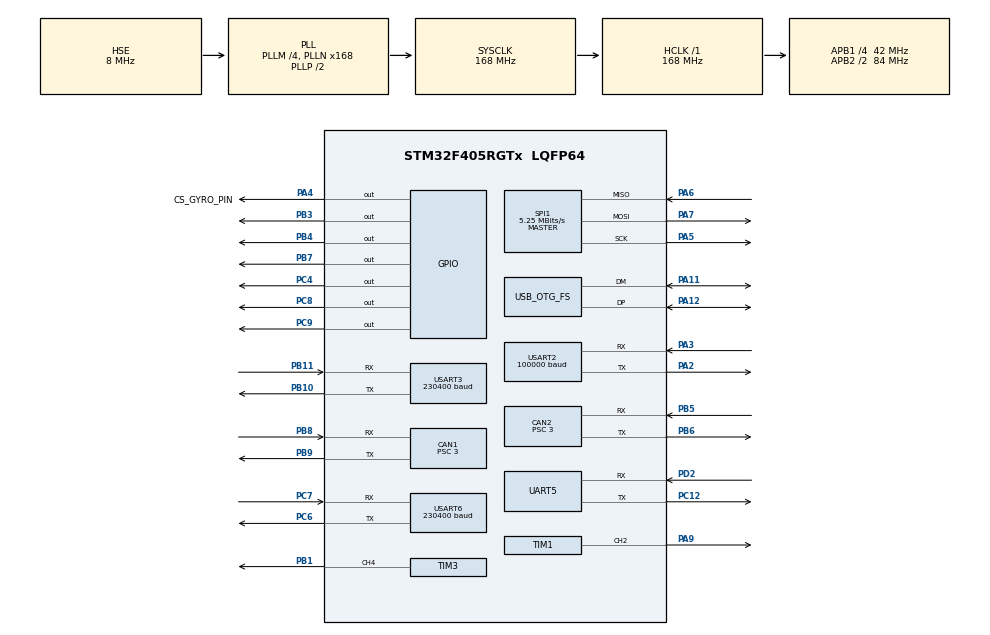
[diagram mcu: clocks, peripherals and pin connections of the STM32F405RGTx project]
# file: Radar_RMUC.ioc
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CAN1.AWUM=ENABLE
CAN1.BS1=CAN_BS1_9TQ
CAN1.BS2=CAN_BS2_4TQ
CAN1.CalculateBaudRate=1000000
CAN1.CalculateTimeBit=1000
CAN1.CalculateTimeQuantum=71.42857142857143
CAN1.NART=ENABLE
CAN1.Prescaler=3
CAN1.SJW=CAN_SJW_1TQ
CAN1.TTCM=ENABLE
CAN2.AWUM=ENABLE
CAN2.BS1=CAN_BS1_9TQ
CAN2.BS2=CAN_BS2_4TQ
CAN2.CalculateBaudRate=1000000
CAN2.CalculateTimeBit=1000
CAN2.CalculateTimeQuantum=71.42857142857143
CAN2.NART=ENABLE
CAN2.Prescaler=3
CAN2.TTCM=ENABLE
Dma.Request0=UART5_RX
Dma.Request1=UART5_TX
Dma.Request2=USART6_RX
Dma.Request3=USART6_TX
Dma.Request4=USART2_RX
Dma.UART5_RX.0.Direction=DMA_PERIPH_TO_MEMORY
Dma.UART5_RX.0.FIFOMode=DMA_FIFOMODE_DISABLE
Dma.UART5_RX.0.Instance=DMA1_Stream0
Dma.UART5_RX.0.MemDataAlignment=DMA_MDATAALIGN_BYTE
Dma.UART5_RX.0.MemInc=DMA_MINC_ENABLE
Dma.UART5_RX.0.Mode=DMA_NORMAL
Dma.UART5_RX.0.PeriphDataAlignment=DMA_PDATAALIGN_BYTE
Dma.UART5_RX.0.PeriphInc=DMA_PINC_DISABLE
Dma.UART5_RX.0.Priority=DMA_PRIORITY_HIGH
Dma.UART5_TX.1.Direction=DMA_MEMORY_TO_PERIPH
Dma.UART5_TX.1.FIFOMode=DMA_FIFOMODE_DISABLE
Dma.UART5_TX.1.Instance=DMA1_Stream7
Dma.UART5_TX.1.MemDataAlignment=DMA_MDATAALIGN_BYTE
Dma.UART5_TX.1.MemInc=DMA_MINC_ENABLE
Dma.UART5_TX.1.Mode=DMA_NORMAL
Dma.UART5_TX.1.PeriphDataAlignment=DMA_PDATAALIGN_BYTE
Dma.UART5_TX.1.PeriphInc=DMA_PINC_DISABLE
Dma.UART5_TX.1.Priority=DMA_PRIORITY_HIGH
Dma.USART2_RX.4.Direction=DMA_PERIPH_TO_MEMORY
Dma.USART2_RX.4.FIFOMode=DMA_FIFOMODE_DISABLE
Dma.USART2_RX.4.Instance=DMA1_Stream5
Dma.USART2_RX.4.MemDataAlignment=DMA_MDATAALIGN_BYTE
Dma.USART2_RX.4.MemInc=DMA_MINC_ENABLE
Dma.USART2_RX.4.Mode=DMA_NORMAL
Dma.USART2_RX.4.PeriphDataAlignment=DMA_PDATAALIGN_BYTE
Dma.USART2_RX.4.PeriphInc=DMA_PINC_DISABLE
Dma.USART2_RX.4.Priority=DMA_PRIORITY_HIGH
Dma.USART6_RX.2.Direction=DMA_PERIPH_TO_MEMORY
Dma.USART6_RX.2.FIFOMode=DMA_FIFOMODE_DISABLE
Dma.USART6_RX.2.Instance=DMA2_Stream1
Dma.USART6_RX.2.MemDataAlignment=DMA_MDATAALIGN_BYTE
Dma.USART6_RX.2.MemInc=DMA_MINC_ENABLE
Dma.USART6_RX.2.Mode=DMA_NORMAL
Dma.USART6_RX.2.PeriphDataAlignment=DMA_PDATAALIGN_BYTE
Dma.USART6_RX.2.PeriphInc=DMA_PINC_DISABLE
Dma.USART6_RX.2.Priority=DMA_PRIORITY_LOW
Dma.USART6_TX.3.Direction=DMA_MEMORY_TO_PERIPH
Dma.USART6_TX.3.FIFOMode=DMA_FIFOMODE_DISABLE
Dma.USART6_TX.3.Instance=DMA2_Stream6
Dma.USART6_TX.3.MemDataAlignment=DMA_MDATAALIGN_BYTE
Dma.USART6_TX.3.MemInc=DMA_MINC_ENABLE
Dma.USART6_TX.3.Mode=DMA_NORMAL
Dma.USART6_TX.3.PeriphDataAlignment=DMA_PDATAALIGN_BYTE
Dma.USART6_TX.3.PeriphInc=DMA_PINC_DISABLE
Dma.USART6_TX.3.Priority=DMA_PRIORITY_LOW
FREERTOS.Tasks01=defaultTask,24,128,StartDefaultTask,Default,NULL,Dynamic,NULL,NULL;myIMU,51,1024,StartIMU,Default,NULL,Dynamic,NULL,NULL;myChassis,41,256,StartChassis,Default,NULL,Dynamic,NULL,NULL;myNAVI,47,512,StartNAVI,Default,NULL,Dynamic,NULL,NULL;myJudgement,45,512,StartJument,Default,NULL,Dynamic,NULL,NULL;myStrategic,43,256,StartStrategic,As external,NULL,Dynamic,NULL,NULL
FREERTOS.configTOTAL_HEAP_SIZE=32768
IWDG.Prescaler=IWDG_PRESCALER_32
IWDG.Reload=1999
Mcu.Family=STM32F4
Mcu.Name=STM32F405RGTx
Mcu.Package=LQFP64
NVIC.CAN1_RX0_IRQn=true\:5\:0\:false\:false\:true\:true\:true\:true\:true
NVIC.CAN2_RX1_IRQn=true\:5\:0\:false\:false\:true\:true\:true\:true\:true
NVIC.DMA1_Stream0_IRQn=true\:5\:0\:false\:false\:true\:true\:false\:true\:true
NVIC.DMA1_Stream5_IRQn=true\:5\:0\:false\:false\:true\:true\:false\:true\:true
NVIC.DMA1_Stream7_IRQn=true\:5\:0\:false\:false\:true\:true\:false\:true\:true
NVIC.DMA2_Stream1_IRQn=true\:5\:0\:false\:false\:true\:true\:false\:true\:true
NVIC.DMA2_Stream6_IRQn=true\:5\:0\:false\:false\:true\:true\:false\:true\:true
NVIC.OTG_FS_IRQn=true\:5\:0\:false\:false\:true\:true\:true\:true\:true
NVIC.PriorityGroup=NVIC_PRIORITYGROUP_4
NVIC.TIM6_DAC_IRQn=true\:4\:0\:true\:false\:true\:false\:false\:true\:true
NVIC.TimeBase=TIM6_DAC_IRQn
NVIC.TimeBaseIP=TIM6
NVIC.UART5_IRQn=true\:6\:0\:true\:false\:true\:true\:true\:true\:true
NVIC.USART2_IRQn=true\:10\:0\:true\:false\:true\:true\:true\:true\:true
NVIC.USART3_IRQn=true\:9\:0\:true\:false\:true\:true\:true\:true\:true
NVIC.USART6_IRQn=true\:7\:0\:true\:false\:true\:true\:true\:true\:true
PA11.Mode=Device_Only
PA11.Signal=USB_OTG_FS_DM
PA12.Mode=Device_Only
PA12.Signal=USB_OTG_FS_DP
PA13.Mode=Serial_Wire
PA13.Signal=SYS_JTMS-SWDIO
PA14.Mode=Serial_Wire
PA14.Signal=SYS_JTCK-SWCLK
PA2.Mode=Asynchronous
PA2.Signal=USART2_TX
PA3.Mode=Asynchronous
PA3.Signal=USART2_RX
PA4.GPIO_Label=CS_GYRO_PIN
PA4.GPIO_Speed=GPIO_SPEED_FREQ_VERY_HIGH
PA4.PinState=GPIO_PIN_SET
PA4.Signal=GPIO_Output
PA5.Mode=Full_Duplex_Master
PA5.Signal=SPI1_SCK
PA6.Mode=Full_Duplex_Master
PA6.Signal=SPI1_MISO
PA7.Mode=Full_Duplex_Master
PA7.Signal=SPI1_MOSI
PA9.Signal=S_TIM1_CH2
PB1.Signal=S_TIM3_CH4
PB10.Mode=Asynchronous
PB10.Signal=USART3_TX
PB11.Mode=Asynchronous
PB11.Signal=USART3_RX
PB3.GPIO_Speed=GPIO_SPEED_FREQ_MEDIUM
PB3.PinState=GPIO_PIN_SET
PB3.Signal=GPIO_Output
PB4.GPIO_Speed=GPIO_SPEED_FREQ_MEDIUM
PB4.PinState=GPIO_PIN_SET
PB4.Signal=GPIO_Output
PB5.Mode=CAN_Activate
PB5.Signal=CAN2_RX
PB6.Mode=CAN_Activate
PB6.Signal=CAN2_TX
PB7.GPIO_Speed=GPIO_SPEED_FREQ_MEDIUM
PB7.PinState=GPIO_PIN_SET
PB7.Signal=GPIO_Output
PB8.Mode=CAN_Activate
PB8.Signal=CAN1_RX
PB9.Mode=CAN_Activate
PB9.Signal=CAN1_TX
PC12.Mode=Asynchronous
PC12.Signal=UART5_TX
PC14-OSC32_IN.Mode=LSE-External-Oscillator
PC14-OSC32_IN.Signal=RCC_OSC32_IN
PC15-OSC32_OUT.Mode=LSE-External-Oscillator
PC15-OSC32_OUT.Signal=RCC_OSC32_OUT
PC4.GPIO_Speed=GPIO_SPEED_FREQ_LOW
PC4.PinState=GPIO_PIN_RESET
PC4.Signal=GPIO_Output
PC6.Mode=Asynchronous
PC6.Signal=USART6_TX
PC7.Mode=Asynchronous
PC7.Signal=USART6_RX
PC8.GPIO_Speed=GPIO_SPEED_FREQ_MEDIUM
PC8.PinState=GPIO_PIN_SET
PC8.Signal=GPIO_Output
PC9.GPIO_Speed=GPIO_SPEED_FREQ_MEDIUM
PC9.PinState=GPIO_PIN_SET
PC9.Signal=GPIO_Output
PD2.Mode=Asynchronous
PD2.Signal=UART5_RX
PH0-OSC_IN.Mode=HSE-External-Oscillator
PH0-OSC_IN.Signal=RCC_OSC_IN
PH1-OSC_OUT.Mode=HSE-External-Oscillator
PH1-OSC_OUT.Signal=RCC_OSC_OUT
ProjectManager.HeapSize=0x2100
ProjectManager.StackSize=0x2100
ProjectManager.TargetToolchain=MDK-ARM V5.32
RCC.48MHZClocksFreq_Value=48000000
RCC.AHBFreq_Value=168000000
RCC.APB1CLKDivider=RCC_HCLK_DIV4
RCC.APB1Freq_Value=42000000
RCC.APB1TimFreq_Value=84000000
RCC.APB2CLKDivider=RCC_HCLK_DIV2
RCC.APB2Freq_Value=84000000
RCC.APB2TimFreq_Value=168000000
RCC.CortexFreq_Value=168000000
RCC.EnbaleCSS=true
RCC.HCLKFreq_Value=168000000
RCC.HSE_VALUE=8000000
RCC.HSI_VALUE=16000000
RCC.PLLM=4
RCC.PLLN=168
RCC.PLLQ=7
RCC.SYSCLKFreq_VALUE=168000000
RCC.SYSCLKSource=RCC_SYSCLKSOURCE_PLLCLK
RCC.VCOOutputFreq_Value=336000000
SH.S_TIM1_CH2.0=TIM1_CH2,PWM Generation2 CH2
SH.S_TIM3_CH4.0=TIM3_CH4,PWM Generation4 CH4
SPI1.BaudRatePrescaler=SPI_BAUDRATEPRESCALER_16
SPI1.CalculateBaudRate=5.25 MBits/s
SPI1.Direction=SPI_DIRECTION_2LINES
SPI1.Mode=SPI_MODE_MASTER
SPI1.VirtualType=VM_MASTER
STMicroelectronics.X-CUBE-ALGOBUILD.1.4.0.LibraryCcDSPOoLibraryJjDSPOoLibrary=true
TIM1.Channel-PWM\ Generation2\ CH2=TIM_CHANNEL_2
TIM1.Period=999
TIM1.Prescaler=167
TIM1.Pulse-PWM\ Generation2\ CH2=500
TIM3.Channel-PWM\ Generation4\ CH4=TIM_CHANNEL_4
TIM3.Period=4999
UART5.VirtualMode=Asynchronous
USART2.BaudRate=100000
USART2.Parity=PARITY_EVEN
USART2.VirtualMode=VM_ASYNC
USART2.WordLength=WORDLENGTH_9B
USART3.BaudRate=230400
USART3.VirtualMode=VM_ASYNC
USART6.BaudRate=230400
USART6.VirtualMode=VM_ASYNC
USB_DEVICE.CLASS_NAME_FS=CDC
USB_DEVICE.VirtualMode-CDC_FS=Cdc
USB_DEVICE.VirtualModeFS=Cdc_FS
USB_OTG_FS.VirtualMode=Device_Only
VP_FREERTOS_VS_CMSIS_V2.Mode=CMSIS_V2
VP_IWDG_VS_IWDG.Mode=IWDG_Activate
VP_RNG_VS_RNG.Mode=RNG_Activate
VP_STMicroelectronics.X-CUBE-ALGOBUILD_VS_DSPOoLibraryJjLibrary_1.4.0_1.4.0.Mode=DSPOoLibraryJjLibrary
VP_SYS_VS_tim6.Mode=TIM6
VP_TIM1_VS_ClockSourceINT.Mode=Internal
VP_TIM3_VS_ClockSourceINT.Mode=Internal
VP_USB_DEVICE_VS_USB_DEVICE_CDC_FS.Mode=CDC_FS
board=custom

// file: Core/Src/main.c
/* USER CODE BEGIN Header */
/**
  ******************************************************************************
  * @file           : main.c
  * @brief          : Main program body
  ******************************************************************************
  * @attention
  *
  * Copyright (c) 2026 STMicroelectronics.
  * All rights reserved.
  *
  * This software is licensed under terms that can be found in the LICENSE file
  * in the root directory of this software component.
  * If no LICENSE file comes with this software, it is provided AS-IS.
  *
  ******************************************************************************
  */
/* USER CODE END Header */
#include "main.h"
#include "cmsis_os.h"
#include "can.h"
#include "dma.h"
#include "iwdg.h"
#include "rng.h"
#include "spi.h"
#include "tim.h"
#include "usart.h"
#include "usb_device.h"
#include "gpio.h"

/* USER CODE BEGIN Includes */
#include "BMI088driver.h"
#include "RS485.h"
/* USER CODE END Includes */

void SystemClock_Config(void);
void MX_FREERTOS_Init(void);

int main(void)
{

  /* MCU Configuration--------------------------------------------------------*/

  /* Reset of all peripherals, Initializes the Flash interface and the Systick. */
  HAL_Init();

  /* Configure the system clock */
  SystemClock_Config();

  /* Initialize all configured peripherals */
  MX_GPIO_Init();
  MX_DMA_Init();
  MX_RNG_Init();
  MX_SPI1_Init();
  MX_TIM3_Init();
  MX_CAN1_Init();
  MX_CAN2_Init();
  MX_UART5_Init();
  MX_USART3_UART_Init();
  MX_USART2_UART_Init();
  MX_USART6_UART_Init();
//  MX_IWDG_Init();
  MX_TIM1_Init();
  /* USER CODE BEGIN 2 */
    DWT_Init(168);
    HAL_TIM_PWM_Start(&htim1, TIM_CHANNEL_2);
//    while (BMI088_init(&hspi1, 1) != BMI088_NO_ERROR)
//        ;
//    RS485_Init();
    uart5_init();
    usart2_init();
  /* USER CODE END 2 */

  /* Init scheduler */
  osKernelInitialize();  /* Call init function for freertos objects (in cmsis_os2.c) */
  MX_FREERTOS_Init();

  /* Start scheduler */
  osKernelStart();

  /* We should never get here as control is now taken by the scheduler */

  /* Infinite loop */
  while (1)
  {

  }
}

void SystemClock_Config(void)
{
  RCC_OscInitTypeDef RCC_OscInitStruct = {0};
  RCC_ClkInitTypeDef RCC_ClkInitStruct = {0};

  /** Configure the main internal regulator output voltage
  */
  __HAL_RCC_PWR_CLK_ENABLE();
  __HAL_PWR_VOLTAGESCALING_CONFIG(PWR_REGULATOR_VOLTAGE_SCALE1);

  /** Initializes the RCC Oscillators according to the specified parameters
  * in the RCC_OscInitTypeDef structure.
  */
  RCC_OscInitStruct.OscillatorType = RCC_OSCILLATORTYPE_LSI|RCC_OSCILLATORTYPE_HSE;
  RCC_OscInitStruct.HSEState = RCC_HSE_ON;
  RCC_OscInitStruct.LSIState = RCC_LSI_ON;
  RCC_OscInitStruct.PLL.PLLState = RCC_PLL_ON;
  RCC_OscInitStruct.PLL.PLLSource = RCC_PLLSOURCE_HSE;
  RCC_OscInitStruct.PLL.PLLM = 4;
  RCC_OscInitStruct.PLL.PLLN = 168;
  RCC_OscInitStruct.PLL.PLLP = RCC_PLLP_DIV2;
  RCC_OscInitStruct.PLL.PLLQ = 7;
  if (HAL_RCC_OscConfig(&RCC_OscInitStruct) != HAL_OK)
  {
    Error_Handler();
  }

  /** Initializes the CPU, AHB and APB buses clocks
  */
  RCC_ClkInitStruct.ClockType = RCC_CLOCKTYPE_HCLK|RCC_CLOCKTYPE_SYSCLK
                              |RCC_CLOCKTYPE_PCLK1|RCC_CLOCKTYPE_PCLK2;
  RCC_ClkInitStruct.SYSCLKSource = RCC_SYSCLKSOURCE_PLLCLK;
  RCC_ClkInitStruct.AHBCLKDivider = RCC_SYSCLK_DIV1;
  RCC_ClkInitStruct.APB1CLKDivider = RCC_HCLK_DIV4;
  RCC_ClkInitStruct.APB2CLKDivider = RCC_HCLK_DIV2;

  if (HAL_RCC_ClockConfig(&RCC_ClkInitStruct, FLASH_LATENCY_5) != HAL_OK)
  {
    Error_Handler();
  }

  /** Enables the Clock Security System
  */
  HAL_RCC_EnableCSS();
}

void HAL_TIM_PeriodElapsedCallback(TIM_HandleTypeDef *htim)
{
  if (htim->Instance == TIM6)
  {
    HAL_IncTick();
  }
}

void Error_Handler(void)
{
  __disable_irq();
  while (1)
  {
  }
}

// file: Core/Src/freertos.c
/* USER CODE BEGIN Header */
/**
  ******************************************************************************
  * File Name          : freertos.c
  * Description        : Code for freertos applications
  ******************************************************************************
  * @attention
  *
  * Copyright (c) 2026 STMicroelectronics.
  * All rights reserved.
  *
  * This software is licensed under terms that can be found in the LICENSE file
  * in the root directory of this software component.
  * If no LICENSE file comes with this software, it is provided AS-IS.
  *
  ******************************************************************************
  */
/* USER CODE END Header */

#include "FreeRTOS.h"
#include "task.h"
#include "main.h"
#include "cmsis_os.h"

/* USER CODE BEGIN Includes */
#include "ins_task.h"
#include "judge_Task.h"
#include "can.h"
#include "Chassis_task.h"
#include "NAVI_Task.h"
#include "RGB.h"
#include "iwdg.h"
#include "tim.h"
/* USER CODE END Includes */

/* USER CODE BEGIN Variables */
extern RGB_enum RGB_color;
/* USER CODE END Variables */
/* Definitions for defaultTask */
osThreadId_t defaultTaskHandle;
const osThreadAttr_t defaultTask_attributes = {
  .name = "defaultTask",
  .stack_size = 128 * 4,
  .priority = (osPriority_t) osPriorityNormal,
};
/* Definitions for myIMU */
osThreadId_t myIMUHandle;
const osThreadAttr_t myIMU_attributes = {
  .name = "myIMU",
  .stack_size = 1024 * 4,
  .priority = (osPriority_t) osPriorityRealtime3,
};
/* Definitions for myChassis */
osThreadId_t myChassisHandle;
const osThreadAttr_t myChassis_attributes = {
  .name = "myChassis",
  .stack_size = 256 * 4,
  .priority = (osPriority_t) osPriorityHigh1,
};
/* Definitions for myNAVI */
osThreadId_t myNAVIHandle;
const osThreadAttr_t myNAVI_attributes = {
  .name = "myNAVI",
  .stack_size = 512 * 4,
  .priority = (osPriority_t) osPriorityHigh7,
};
/* Definitions for myJudgement */
osThreadId_t myJudgementHandle;
const osThreadAttr_t myJudgement_attributes = {
  .name = "myJudgement",
  .stack_size = 512 * 4,
  .priority = (osPriority_t) osPriorityHigh5,
};
/* Definitions for myStrategic */
osThreadId_t myStrategicHandle;
const osThreadAttr_t myStrategic_attributes = {
  .name = "myStrategic",
  .stack_size = 256 * 4,
  .priority = (osPriority_t) osPriorityHigh3,
};

void StartDefaultTask(void *argument);
void StartIMU(void *argument);
void StartChassis(void *argument);
void StartNAVI(void *argument);
void StartJument(void *argument);
extern void StartStrategic(void *argument);

extern void MX_USB_DEVICE_Init(void);
void MX_FREERTOS_Init(void); /* (MISRA C 2004 rule 8.1) */

void MX_FREERTOS_Init(void) {

  /* Create the thread(s) */
  /* creation of defaultTask */
  defaultTaskHandle = osThreadNew(StartDefaultTask, NULL, &defaultTask_attributes);

  /* creation of myIMU */
  myIMUHandle = osThreadNew(StartIMU, NULL, &myIMU_attributes);

  /* creation of myChassis */
  myChassisHandle = osThreadNew(StartChassis, NULL, &myChassis_attributes);

  /* creation of myNAVI */
  myNAVIHandle = osThreadNew(StartNAVI, NULL, &myNAVI_attributes);

  /* creation of myJudgement */
  myJudgementHandle = osThreadNew(StartJument, NULL, &myJudgement_attributes);

  /* creation of myStrategic */
  myStrategicHandle = osThreadNew(StartStrategic, NULL, &myStrategic_attributes);

}

void StartDefaultTask(void *argument)
{
  /* init code for USB_DEVICE */
  MX_USB_DEVICE_Init();
  for(;;)
  {
    osDelay(1);
  }
}

void StartIMU(void *argument)
{
  /* USER CODE BEGIN StartIMU */
//  INS_Init();
    /* Infinite loop */
    for (;;)
    {
        CAN1_Send_up();
        CAN1_Send_up_t();
        CAN1_Send_up_tt();
//        INS_Task();
        osDelay(1);
    }
  /* USER CODE END StartIMU */
}

void StartChassis(void *argument)
{
  /* USER CODE BEGIN StartChassis */
    Chassis_PID_Init();
    MX_IWDG_Init();
  /* Infinite loop */
  for(;;)
  {
      Chassis_movment();
      HAL_IWDG_Refresh(&hiwdg);
    osDelay(1);
  }
  /* USER CODE END StartChassis */
}

void StartNAVI(void *argument)
{
  /* USER CODE BEGIN StartNAVI */
  /* Infinite loop */
  for(;;)
  {
      RGB_action(RGB_color);
      NAVI_RX();
      NAVI_TX();
      __HAL_TIM_SET_COMPARE(&htim1, TIM_CHANNEL_2, 500);
    osDelay(1);
  }
  /* USER CODE END StartNAVI */
}

void StartJument(void *argument)
{
  /* USER CODE BEGIN StartJument */
  /* Infinite loop */
  for(;;)
  {
      judge_task();

//    osDelay(1);
  }
  /* USER CODE END StartJument */
}
